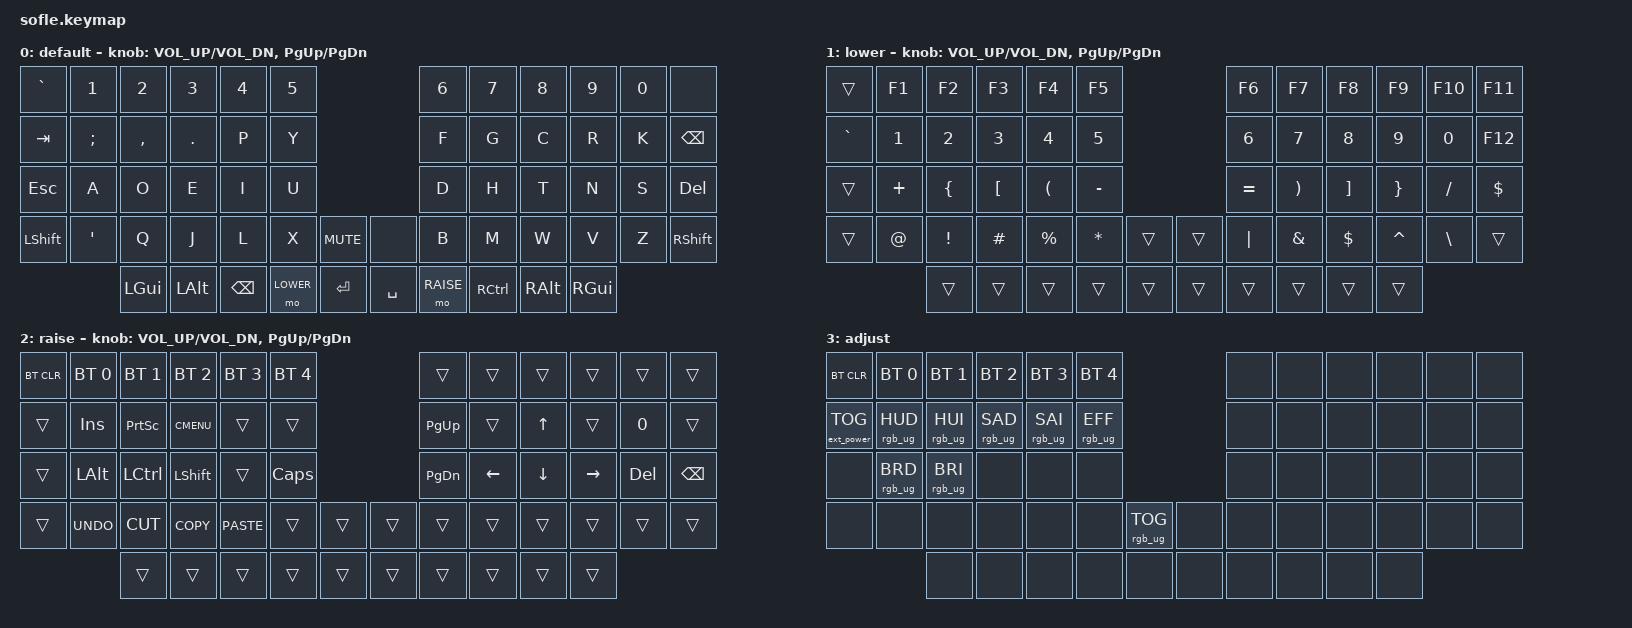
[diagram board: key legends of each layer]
/*
 * Copyright (c) 2020 The ZMK Contributors
 *
 * SPDX-License-Identifier: MIT
 */

#include <behaviors.dtsi>
#include <dt-bindings/zmk/keys.h>
#include <dt-bindings/zmk/bt.h>
#include <dt-bindings/zmk/rgb.h>
#include <dt-bindings/zmk/ext_power.h>

#define BASE 0
#define LOWER 1
#define RAISE 2
#define ADJUST 3

/ {

   // Activate ADJUST layer by pressing raise and lower
    conditional_layers {
        compatible = "zmk,conditional-layers";
        adjust_layer {
            if-layers = <LOWER RAISE>;
            then-layer = <ADJUST>;
        };
    };

    keymap {
        compatible = "zmk,keymap";

        default_layer {
            display-name = "default";
// ------------------------------------------------------------------------------------------------------------
// |   `   |  1  |  2  |  3   |  4   |  5   |                   |  6   |  7    |  8    |  9   |   0   |       |
// |  ESC  |  Q  |  W  |  E   |  R   |  T   |                   |  Y   |  U    |  I    |  O   |   P   | BKSPC |
// |  TAB  |  A  |  S  |  D   |  F   |  G   |                   |  H   |  J    |  K    |  L   |   ;   |   '   |
// | SHIFT |  Z  |  X  |  C   |  V   |  B   |  MUTE  |  |       |  N   |  M    |  ,    |  .   |   /   | SHIFT |
//               | GUI | ALT  | CTRL | LOWER|  ENTER |  | SPACE | RAISE| CTRL  | ALT   | GUI  |
            bindings = <
&kp GRAVE &kp N1 &kp N2   &kp N3   &kp N4    &kp N5                           &kp N6 &kp N7    &kp N8    &kp N9   &kp N0   &none
&kp TAB   &kp SEMI &kp COMMA &kp DOT &kp P   &kp Y                            &kp F  &kp G     &kp C     &kp R    &kp K    &kp BSPC
&kp ESC   &kp A  &kp O    &kp E    &kp I     &kp U                            &kp D  &kp H     &kp T     &kp N    &kp S    &kp DEL
&kp LSHFT &kp SQT &kp Q   &kp J    &kp L     &kp X      &kp C_MUTE &none      &kp B  &kp M     &kp W     &kp V    &kp Z    &kp RSHFT
                 &kp LGUI &kp LALT &kp BSPC &mo LOWER  &kp RET    &kp SPACE  &mo RAISE  &kp RCTRL &kp RALT  &kp RGUI
            >;

            sensor-bindings = <&inc_dec_kp C_VOL_UP C_VOL_DN &inc_dec_kp PG_UP PG_DN>;
        };

        lower_layer {
            display-name = "lower";
// TODO: Some binds are waiting for shifted keycode support.
// ------------------------------------------------------------------------------------------------------------
// |       |  F1 |  F2 |  F3  |  F4  |  F5  |                   |  F6  |  F7   |  F8   |  F9  |  F10  |  F11  |
// |   `   |  1  |  2  |  3   |  4   |  5   |                   |  6   |  7    |  8    |  9   |   0   |  F12  |
// |       |  !  |  @  |  #   |  $   |  %   |                   |  ^   |  &    |  *    |  (   |   )   |   |   |
// |       |  =  |  -  |  +   |  {   |  }   |        |  |       |  [   |  ]    |  ;    |  :   |   \   |       |
//               |     |      |      |      |        |  |       |      |       |       |      |
            bindings = <
&trans    &kp F1    &kp F2    &kp F3      &kp F4    &kp F5                    &kp F6    &kp F7   &kp F8    &kp F9    &kp F10   &kp F11
&kp GRAVE &kp N1    &kp N2    &kp N3      &kp N4    &kp N5                    &kp N6    &kp N7   &kp N8    &kp N9    &kp N0    &kp F12
&trans    &kp PLUS  &kp LBRC    &kp LBKT    &kp LPAR  &kp MINUS                 &kp EQUAL &kp RPAR &kp RBKT &kp RBRC  &kp SLASH  &kp DLLR
&trans    &kp AT &kp EXCL &kp HASH &kp PRCNT  &kp STAR   &trans &trans  &kp PIPE  &kp AMPS &kp DLLR  &kp CARET &kp BSLH  &trans
                    &trans    &trans      &trans    &trans     &trans &trans  &trans    &trans   &trans    &trans
>;

            sensor-bindings = <&inc_dec_kp C_VOL_UP C_VOL_DN &inc_dec_kp PG_UP PG_DN>;
        };

        raise_layer {
            display-name = "raise";
// ------------------------------------------------------------------------------------------------------------
// | BTCLR | BT1  | BT2  |  BT3  |  BT4  |  BT5 |                |      |      |       |      |       |       |
// |       | INS  | PSCR | GUI   |       |      |                | PGUP |      |   ^   |      |       |       |
// |       | ALT  | CTRL | SHIFT |       | CAPS |                | PGDN |   <- |   v   |  ->  |  DEL  | BKSPC |
// |       | UNDO | CUT  | COPY  | PASTE |      |      |  |      |      |      |       |      |       |       |
//                |      |       |       |      |      |  |      |      |      |       |      |
            bindings = <
&bt BT_CLR &bt BT_SEL 0 &bt BT_SEL 1 &bt BT_SEL 2 &bt BT_SEL 3 &bt BT_SEL 4                  &trans    &trans    &trans   &trans    &trans  &trans
&trans     &kp INS      &kp PSCRN    &kp K_CMENU  &trans       &trans                        &kp PG_UP &trans    &kp UP   &trans    &kp N0  &trans
&trans     &kp LALT     &kp LCTRL    &kp LSHFT    &trans       &kp CLCK                      &kp PG_DN &kp LEFT  &kp DOWN &kp RIGHT &kp DEL &kp BSPC
&trans     &kp K_UNDO   &kp K_CUT    &kp K_COPY   &kp K_PASTE  &trans        &trans  &trans  &trans    &trans    &trans   &trans    &trans  &trans
                        &trans       &trans       &trans       &trans        &trans  &trans  &trans    &trans    &trans   &trans
            >;

            sensor-bindings = <&inc_dec_kp C_VOL_UP C_VOL_DN &inc_dec_kp PG_UP PG_DN>;
        };

        adjust_layer {
// ----------------------------------------------------------------------------------------------------------------------------
// | BTCLR  |  BT1    |  BT2    |   BT3   |   BT4   |   BT5   |                  |      |      |       |      |       |       |
// | EXTPWR | RGB_HUD | RGB_HUI | RGB_SAD | RGB_SAI | RGB_EFF |                  |      |      |       |      |       |       |
// |        | RGB_BRD | RGB_BRI |         |         |         |                  |      |      |       |      |       |       |
// |        |         |         |         |         |         | RGB_TOG | |      |      |      |       |      |       |       |
//                    |         |         |         |         |         | |      |      |      |       |      |
            display-name = "adjust";
            bindings = <
&bt BT_CLR        &bt BT_SEL 0    &bt BT_SEL 1    &bt BT_SEL 2    &bt BT_SEL 3    &bt BT_SEL 4                            &none &none &none &none &none &none
&ext_power EP_TOG &rgb_ug RGB_HUD &rgb_ug RGB_HUI &rgb_ug RGB_SAD &rgb_ug RGB_SAI &rgb_ug RGB_EFF                         &none &none &none &none &none &none
&none             &rgb_ug RGB_BRD &rgb_ug RGB_BRI &none           &none           &none                                   &none &none &none &none &none &none
&none             &none           &none           &none           &none           &none            &rgb_ug RGB_TOG &none  &none &none &none &none &none &none
                                  &none           &none           &none           &none            &none           &none  &none &none &none &none
            >;
        };

    };
};
